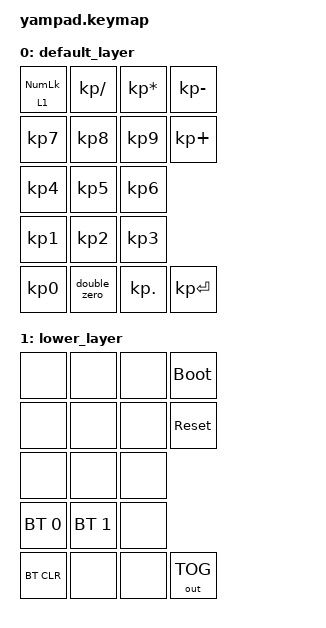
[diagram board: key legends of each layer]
#include <behaviors.dtsi>
#include <dt-bindings/zmk/keys.h>
#include <dt-bindings/zmk/bt.h>
#include <dt-bindings/zmk/outputs.h>

/ {
        keymap {
                compatible = "zmk,keymap";

                default_layer {
                      bindings = <
                     &lt 1 KP_NUM       &kp KP_SLASH     &kp KP_MULTIPLY    &kp KP_MINUS
                       &kp KP_N7        &kp KP_N8        &kp KP_N9          &kp KP_PLUS 
                       &kp KP_N4        &kp KP_N5        &kp KP_N6 
                       &kp KP_N1        &kp KP_N2        &kp KP_N3
                       &kp KP_N0        &double_zero     &kp KP_DOT         &kp KP_ENTER

                                            >;
                              };

                lower_layer {
                      bindings = <
                          &none            &none            &none       &bootloader
                          &none            &none            &none       &sys_reset
                          &none            &none            &none
                          &bt BT_SEL 0     &bt BT_SEL 1     &none
                          &bt BT_CLR       &none            &none       &out OUT_TOG

                                                                          >;
                              };
        };

    macros {
        double_zero: double_zero {
            compatible = "zmk,behavior-macro";
            #binding-cells = <0>;
            bindings = <&macro_tap &kp N0 &kp N0>;
        };
    };

};
